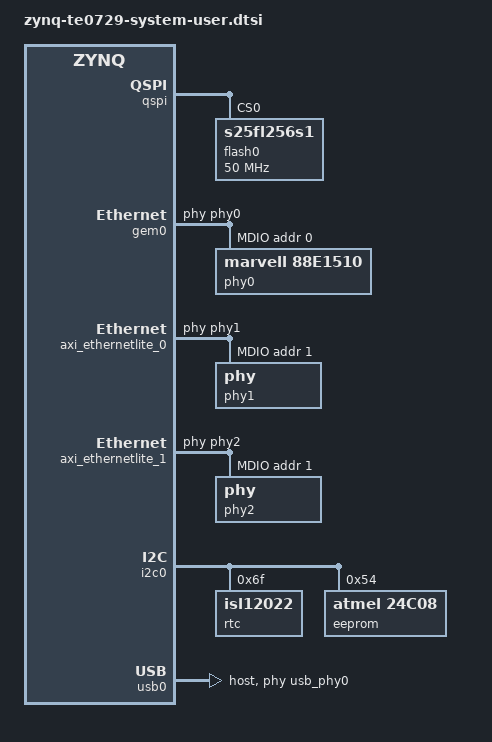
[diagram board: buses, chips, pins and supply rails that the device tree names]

/ {
  chosen {
    xlnx,eeprom = &eeprom;
  };
};

/* QSPI PHY */
&qspi {
    status = "okay";
    flash0: flash@0 {
                compatible = "s25fl256s1", "jedec,spi-nor";
                reg = <0x0>;

                spi-max-frequency = <50000000>;
                spi-rx-bus-width = <4>;
                spi-tx-bus-width = <1>;

                #address-cells = <1>;
                #size-cells = <1>;
    };
};


/* ETH PHY */
&gem0 {
    phy-handle = <&phy0>;
    mdio {
        #address-cells = <1>;
        #size-cells = <0>;
        phy0: phy@0 {
            compatible = "marvell,88e1510";
            device_type = "ethernet-phy";
            reg = <0>;
        };
    };
};

/* AXI ETH PHY0 */

&axi_ethernetlite_0 {
    local-mac-address = [00 0a 35 00 22 02];
    phy-handle = <&phy1>;
    xlnx,has-mdio = <0x1>;
    mdio {
        #address-cells = <1>;
        #size-cells = <0>;
        phy1: phy@1 {
            device_type = "ethernet-phy";
            reg = <1>;
        };
    };
};

/* AXI ETH PHY1 */
&axi_ethernetlite_1 {
    local-mac-address = [00 0a 35 00 22 03];
    phy-handle = <&phy2>;
    xlnx,has-mdio = <0x1>;
    mdio {
        #address-cells = <1>;
        #size-cells = <0>;
        phy2: phy@1 {
            device_type = "ethernet-phy";
            reg = <1>;
        };
    };
};


/* RTC */
&i2c0 {
    rtc@6F {        // Real Time Clock
       compatible = "isl12022";
       reg = <0x6F>;
   };
  //MAC EEPROM
  eeprom: eeprom@50 {
    compatible = "atmel,24c08";
    reg = <0x54>;
  };
};

/* USB PHY */

/{
    usb_phy0: usb_phy@0 {
        compatible = "ulpi-phy";
        //compatible = "usb-nop-xceiv";
        #phy-cells = <0>;
        reg = <0xe0002000 0x1000>;
        view-port = <0x0170>;
        drv-vbus;
    };
};

&usb0 {
    dr_mode = "host";
    //dr_mode = "peripheral";
    usb-phy = <&usb_phy0>;
};
